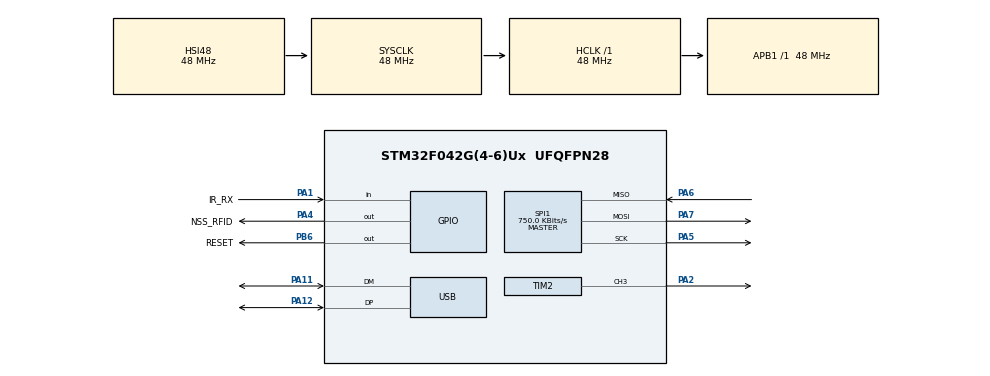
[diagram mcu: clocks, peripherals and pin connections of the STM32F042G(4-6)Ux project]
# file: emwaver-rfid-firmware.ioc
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Mcu.Family=STM32F0
Mcu.Name=STM32F042G(4-6)Ux
Mcu.Package=UFQFPN28
NVIC.TIM3_IRQn=true\:0\:0\:false\:false\:true\:true\:true\:true
NVIC.USB_IRQn=true\:3\:0\:true\:false\:true\:false\:true\:true
PA1.GPIO_Label=IR_RX
PA1.Signal=GPIO_Input
PA11.Mode=Device
PA11.Signal=USB_DM
PA12.Mode=Device
PA12.Signal=USB_DP
PA2.GPIO_PuPd=GPIO_PULLDOWN
PA2.Signal=S_TIM2_CH3
PA4.GPIO_Label=NSS_RFID
PA4.PinState=GPIO_PIN_SET
PA4.Signal=GPIO_Output
PA5.Mode=Full_Duplex_Master
PA5.Signal=SPI1_SCK
PA6.Mode=Full_Duplex_Master
PA6.Signal=SPI1_MISO
PA7.Mode=Full_Duplex_Master
PA7.Signal=SPI1_MOSI
PB6.GPIO_Label=RESET
PB6.Signal=GPIO_Output
ProjectManager.HeapSize=0x200
ProjectManager.StackSize=0x400
ProjectManager.TargetToolchain=STM32CubeIDE
RCC.AHBFreq_Value=48000000
RCC.APB1Freq_Value=48000000
RCC.APB1TimFreq_Value=48000000
RCC.HCLKFreq_Value=48000000
RCC.SYSCLKFreq_VALUE=48000000
RCC.SYSCLKSource=RCC_SYSCLKSOURCE_HSI48
SH.S_TIM2_CH3.0=TIM2_CH3,PWM Generation3 CH3
SPI1.BaudRatePrescaler=SPI_BAUDRATEPRESCALER_64
SPI1.CalculateBaudRate=750.0 KBits/s
SPI1.DataSize=SPI_DATASIZE_8BIT
SPI1.Direction=SPI_DIRECTION_2LINES
SPI1.Mode=SPI_MODE_MASTER
SPI1.VirtualType=VM_MASTER
TIM1.Period=0xFFFF - 1
TIM1.Prescaler=48-1
TIM2.Channel-PWM\ Generation3\ CH3=TIM_CHANNEL_3
TIM2.Period=1263-1
TIM2.Pulse-PWM\ Generation3\ CH3=(1263-1)/2
TIM3.Period=480-1
USB_DEVICE.APP_RX_DATA_SIZE=64
USB_DEVICE.APP_TX_DATA_SIZE=64
USB_DEVICE.CLASS_NAME_FS=CDC
USB_DEVICE.VirtualMode=Cdc
USB_DEVICE.VirtualModeFS=Cdc_FS
VP_SYS_VS_PINREMAP.Mode=PINREMAP
VP_TIM1_VS_ClockSourceINT.Mode=Internal
VP_TIM2_VS_ClockSourceINT.Mode=Internal
VP_TIM3_VS_ClockSourceINT.Mode=Internal
VP_USB_DEVICE_VS_USB_DEVICE_CDC_FS.Mode=CDC_FS
board=custom

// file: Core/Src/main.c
/* USER CODE BEGIN Header */
/**
  ******************************************************************************
  * @file           : main.c
  * @brief          : Main program body
  ******************************************************************************
  * @attention
  *
  * Copyright (c) 2024 STMicroelectronics.
  * All rights reserved.
  *
  * This software is licensed under terms that can be found in the LICENSE file
  * in the root directory of this software component.
  * If no LICENSE file comes with this software, it is provided AS-IS.
  *
  ******************************************************************************
  *
  * EMWaver modifications
  * Copyright (c) 2026 Luís Marnoto
*/
/* USER CODE END Header */
#include "main.h"
#include "usb_device.h"

/* USER CODE BEGIN Includes */
#include <stdlib.h>
#include <string.h>
#include <stdbool.h>
#include <stdint.h>
#include "usbd_cdc_if.h"
#include "MFRC522.h"
/* USER CODE END Includes */

/* USER CODE BEGIN PD */
#define CDC_TIMEOUT 100
#define EMWAVER_FIRMWARE_WELCOME "Welcome to RFID Waver firmware"
#define EMWAVER_FIRMWARE_VERSION "1.0.0"
/* USER CODE END PD */

SPI_HandleTypeDef hspi1;

TIM_HandleTypeDef htim1;
TIM_HandleTypeDef htim2;
TIM_HandleTypeDef htim3;

/* USER CODE BEGIN PV */
uint8_t * bulk_packet = NULL;
size_t bulk_packet_len = 0;

volatile CDC_Buffer_Type cdc_buf_type = CDC_BUFFER_PACKET;
/* USER CODE END PV */

void SystemClock_Config(void);
static void MX_GPIO_Init(void);
static void MX_TIM2_Init(void);
static void MX_TIM1_Init(void);
static void MX_TIM3_Init(void);
static void MX_SPI1_Init(void);

/* USER CODE BEGIN 0 */

static void free_bulk_packet(void)
{
    if (bulk_packet != NULL) {
        free(bulk_packet);
        bulk_packet = NULL;
        bulk_packet_len = 0;
    }
}

static void command_send_ok(const uint8_t *data, size_t len)
{
    if (data && len > 0) {
        (void)CDC_SendResponsePkt_FS((uint8_t *)data, (uint16_t)len, CDC_TIMEOUT);
        return;
    }
    const uint8_t ok = 0x00;
    (void)CDC_SendResponsePkt_FS((uint8_t *)&ok, 1, CDC_TIMEOUT);
}

static void command_send_err(const char *msg)
{
    (void)msg;
    // Match the registry firmware behavior: errors are best-effort no-ops.
    const uint8_t ok = 0x00;
    (void)CDC_SendResponsePkt_FS((uint8_t *)&ok, 1, CDC_TIMEOUT);
}

static void enable_gpio_clock(GPIO_TypeDef *port)
{
    if (port == GPIOA) {
        __HAL_RCC_GPIOA_CLK_ENABLE();
    } else if (port == GPIOB) {
        __HAL_RCC_GPIOB_CLK_ENABLE();
    }
}

static void configurePin(GPIO_TypeDef *port, uint16_t pin, uint32_t mode, uint32_t pull)
{
    GPIO_InitTypeDef GPIO_InitStruct = {0};

    enable_gpio_clock(port);
    GPIO_InitStruct.Pin = pin;
    GPIO_InitStruct.Mode = mode;
    GPIO_InitStruct.Pull = pull;
    GPIO_InitStruct.Speed = GPIO_SPEED_FREQ_HIGH;
    if (mode == GPIO_MODE_AF_PP) {
        GPIO_InitStruct.Alternate = GPIO_AF2_TIM2;
    }
    HAL_GPIO_Init(port, &GPIO_InitStruct);
}

static bool decode_encoded_pin(int encoded, GPIO_TypeDef **out_port, uint16_t *out_pin)
{
    if (!out_port || !out_pin) {
        return false;
    }
    if (encoded >= 0 && encoded <= 15) {
        *out_port = GPIOA;
        *out_pin = (uint16_t)(1u << encoded);
        return true;
    }
    if (encoded >= 16 && encoded <= 31) {
        *out_port = GPIOB;
        *out_pin = (uint16_t)(1u << (encoded - 16));
        return true;
    }
    return false;
}

static bool pin_mask_to_index(uint16_t pin_mask, uint8_t *out_index)
{
    if (!out_index) {
        return false;
    }
    if (pin_mask == 0) {
        return false;
    }
    for (uint8_t i = 0; i < 16; i++) {
        if (pin_mask == (uint16_t)(1u << i)) {
            *out_index = i;
            return true;
        }
    }
    return false;
}

static void gpio_write_latch(GPIO_TypeDef *port, uint16_t pin_mask, bool value)
{
    if (!port) {
        return;
    }
    if (value) {
        port->BSRR = pin_mask;
    } else {
        port->BSRR = (uint32_t)pin_mask << 16;
    }
}

static void disable_tim2_output_if_needed(GPIO_TypeDef *port, uint8_t pin_index)
{
    if (port != GPIOA) {
        return;
    }

    uint32_t channel = 0;
    uint16_t ccer_mask = 0;
    switch (pin_index) {
        case 0:
            channel = TIM_CHANNEL_1;
            ccer_mask = TIM_CCER_CC1E;
            break;
        case 1:
            channel = TIM_CHANNEL_2;
            ccer_mask = TIM_CCER_CC2E;
            break;
        case 2:
            channel = TIM_CHANNEL_3;
            ccer_mask = TIM_CCER_CC3E;
            break;
        case 3:
            channel = TIM_CHANNEL_4;
            ccer_mask = TIM_CCER_CC4E;
            break;
        default:
            return;
    }

    TIM2->CCER &= (uint16_t)~ccer_mask;
    (void)HAL_TIM_PWM_Stop(&htim2, channel);
}

static void gpio_set_mode(GPIO_TypeDef *port, uint16_t pin_mask, uint32_t mode, uint32_t pull)
{
    if (!port) {
        return;
    }
    enable_gpio_clock(port);
    HAL_GPIO_DeInit(port, pin_mask);
    configurePin(port, pin_mask, mode, pull);
}

// Minimal CLI parsing (copied/adapted from stm/emwaver-firmware command_registry.c).
#define CLI_MAX_ARGS 10
#define CLI_MAX_POSITIONAL 4
#define CLI_COMMAND_BUFFER 256

typedef struct {
    const char *key;
    const char *value;
} cli_arg_view_t;

typedef struct {
    char *verb;
    cli_arg_view_t args[CLI_MAX_ARGS];
    size_t arg_count;
    char *positional[CLI_MAX_POSITIONAL];
    size_t positional_count;
} cli_command_view_t;

static bool is_cli_space(char ch)
{
    return ch == ' ' || ch == '\t' || ch == '\r' || ch == '\n';
}

static char *next_token(char **cursor)
{
    if (!cursor || !*cursor) {
        return NULL;
    }

    char *p = *cursor;
    while (*p && is_cli_space(*p)) {
        p++;
    }
    if (!*p) {
        *cursor = p;
        return NULL;
    }

    char *start = p;
    while (*p && !is_cli_space(*p)) {
        p++;
    }
    if (*p) {
        *p = '\0';
        p++;
    }
    *cursor = p;
    return start;
}

static bool parse_cli_command_inplace(char *line, cli_command_view_t *out)
{
    if (!line || !out) {
        return false;
    }

    memset(out, 0, sizeof(*out));

    char *cursor = line;
    char *verb = next_token(&cursor);
    if (!verb) {
        return false;
    }
    out->verb = verb;

    char *pending = NULL;
    while (1) {
        char *token = pending ? pending : next_token(&cursor);
        pending = NULL;
        if (!token) {
            break;
        }

        if (strncmp(token, "--", 2) == 0) {
            char *key = token + 2;
            const char *value = NULL;
            char *eq = strchr(key, '=');
            if (eq) {
                *eq = '\0';
                value = eq + 1;
            } else {
                char *next = next_token(&cursor);
                if (!next) {
                    value = "1";
                } else if (strncmp(next, "--", 2) == 0) {
                    value = "1";
                    pending = next;
                } else {
                    value = next;
                }
            }
            if (out->arg_count < CLI_MAX_ARGS) {
                out->args[out->arg_count].key = key;
                out->args[out->arg_count].value = value ? value : "";
                out->arg_count++;
            }
        } else {
            if (out->positional_count < CLI_MAX_POSITIONAL) {
                out->positional[out->positional_count] = token;
                out->positional_count++;
            }
        }
    }

    return true;
}

static const char *cli_get_arg_view(const cli_command_view_t *cmd, const char *key)
{
    if (!cmd || !key) {
        return NULL;
    }
    for (size_t i = 0; i < cmd->arg_count; ++i) {
        if (cmd->args[i].key && strcmp(cmd->args[i].key, key) == 0) {
            return cmd->args[i].value;
        }
    }
    return NULL;
}

static bool cli_parse_int(const char *str, int *out_value)
{
    if (!str || !out_value) {
        return false;
    }
    char *end = NULL;
    long value = strtol(str, &end, 0);
    if (end == str || (end && *end != '\0')) {
        return false;
    }
    *out_value = (int)value;
    return true;
}

static int from_hex(char c)
{
    if (c >= '0' && c <= '9') return c - '0';
    if (c >= 'a' && c <= 'f') return 10 + (c - 'a');
    if (c >= 'A' && c <= 'F') return 10 + (c - 'A');
    return -1;
}

static bool cli_parse_hex_bytes(const char *str, uint8_t *out, size_t max_len, size_t *out_len)
{
    if (!str || !out || !out_len) {
        return false;
    }

    size_t written = 0;
    int pending = -1;

    for (const char *p = str; *p; ++p) {
        char c = *p;

        if (c == '0' && (p[1] == 'x' || p[1] == 'X')) {
            ++p;
            continue;
        }

        if (c == ' ' || c == '\t' || c == '\r' || c == '\n' || c == ',' || c == ':' || c == '_' || c == '-') {
            continue;
        }

        int nib = from_hex(c);
        if (nib < 0) {
            return false;
        }

        if (pending < 0) {
            pending = nib;
        } else {
            if (written >= max_len) {
                return false;
            }
            out[written++] = (uint8_t)((pending << 4) | nib);
            pending = -1;
        }
    }

    if (pending >= 0) {
        return false;
    }

    *out_len = written;
    return true;
}

/* USER CODE END 0 */

int main(void)
{

  /* MCU Configuration--------------------------------------------------------*/

  /* Reset of all peripherals, Initializes the Flash interface and the Systick. */
  HAL_Init();

  /* Configure the system clock */
  SystemClock_Config();

  /* Initialize all configured peripherals */
  MX_GPIO_Init();
  MX_TIM2_Init();
  MX_TIM1_Init();
  MX_USB_DEVICE_Init();
  MX_TIM3_Init();
  MX_SPI1_Init();

  /* Infinite loop */
  /* USER CODE BEGIN WHILE */
  while (1) {
      if (bulk_packet == NULL) {
          continue;
      }

      if (bulk_packet_len < 1) {
          command_send_err(NULL);
          free_bulk_packet();
          continue;
      }

      static char scratch_line[CLI_COMMAND_BUFFER + 1];
      size_t line_len = bulk_packet_len;
      if (line_len > CLI_COMMAND_BUFFER) {
          line_len = CLI_COMMAND_BUFFER;
      }
      size_t effective = 0;
      for (size_t i = 0; i < line_len; i++) {
          if (bulk_packet[i] == '\0') {
              break;
          }
          scratch_line[i] = (char)bulk_packet[i];
          effective++;
      }
      scratch_line[effective] = '\0';
      // Trim trailing whitespace/newlines.
      while (effective > 0 && is_cli_space(scratch_line[effective - 1])) {
          scratch_line[effective - 1] = '\0';
          effective--;
      }

      cli_command_view_t cmd;
      if (!parse_cli_command_inplace(scratch_line, &cmd)) {
          command_send_err(NULL);
          free_bulk_packet();
          continue;
      }

      if (cmd.verb && strcmp(cmd.verb, "version") == 0) {
          static const char msg[] = EMWAVER_FIRMWARE_WELCOME " " EMWAVER_FIRMWARE_VERSION;
          (void)CDC_SendResponsePkt_FS((uint8_t *)msg, (uint16_t)(sizeof(msg) - 1u), CDC_TIMEOUT);
          free_bulk_packet();
          continue;
      }

      if (cmd.verb && strcmp(cmd.verb, "rfid") == 0 && cmd.positional_count > 0) {
          static bool mfrc522_initialized = false;

          const char *sub = cmd.positional[0];

          if (!mfrc522_initialized) {
              MFRC522_Init();
              mfrc522_initialized = true;
          }

          u_char version = Read_MFRC522(VersionReg);
          bool present = (version == 0xB2 || version == 0x92 || version == 0x91);

          if (strcmp(sub, "init") == 0) {
              if (!present) {
                  const char *msg = "ERR: MFRC522 not detected";
                  (void)CDC_SendResponsePkt_FS((uint8_t *)msg, (uint16_t)strlen(msg), CDC_TIMEOUT);
              } else {
                  command_send_ok(NULL, 0);
              }
              free_bulk_packet();
              continue;
          }

          if (!present) {
              const char *msg = "ERR: MFRC522 not detected";
              (void)CDC_SendResponsePkt_FS((uint8_t *)msg, (uint16_t)strlen(msg), CDC_TIMEOUT);
              free_bulk_packet();
              continue;
          }

          if (strcmp(sub, "read") == 0) {
              int block = 0;
              int auth = 0;
              const char *block_str = cli_get_arg_view(&cmd, "block");
              const char *auth_str = cli_get_arg_view(&cmd, "auth");
              const char *key_str = cli_get_arg_view(&cmd, "key");
              if (!cli_parse_int(block_str, &block) || !cli_parse_int(auth_str, &auth)) {
                  command_send_err(NULL);
                  free_bulk_packet();
                  continue;
              }

              uint8_t key_bytes[6] = {0xFF, 0xFF, 0xFF, 0xFF, 0xFF, 0xFF};
              size_t key_len = 0;
              if (!(cli_parse_hex_bytes(key_str, key_bytes, sizeof(key_bytes), &key_len) && key_len == sizeof(key_bytes))) {
                  memset(key_bytes, 0xFF, sizeof(key_bytes));
              }

              u_char tag_type[2] = {0};
              u_char uid[5] = {0};
              u_char status = MFRC522_Request(PICC_REQIDL, tag_type);
              if (status != MI_OK) {
                  const char *msg = "No card detected";
                  (void)CDC_SendResponsePkt_FS((uint8_t *)msg, (uint16_t)strlen(msg), CDC_TIMEOUT);
                  free_bulk_packet();
                  continue;
              }
              status = MFRC522_Anticoll(uid);
              if (status != MI_OK) {
                  const char *msg = "No card detected";
                  (void)CDC_SendResponsePkt_FS((uint8_t *)msg, (uint16_t)strlen(msg), CDC_TIMEOUT);
                  free_bulk_packet();
                  continue;
              }
              (void)MFRC522_SelectTag(uid);

              status = MFRC522_Auth((u_char)auth, (u_char)block, (u_char *)key_bytes, uid);
              if (status != MI_OK) {
                  MFRC522_StopCrypto1();
                  const char *msg = "ERR: auth failed";
                  (void)CDC_SendResponsePkt_FS((uint8_t *)msg, (uint16_t)strlen(msg), CDC_TIMEOUT);
                  free_bulk_packet();
                  continue;
              }

              u_char block_data[18] = {0};
              status = MFRC522_Read((u_char)block, block_data);
              MFRC522_StopCrypto1();
              MFRC522_Halt();
              if (status != MI_OK) {
                  const char *msg = "ERR: read failed";
                  (void)CDC_SendResponsePkt_FS((uint8_t *)msg, (uint16_t)strlen(msg), CDC_TIMEOUT);
                  free_bulk_packet();
                  continue;
              }

              uint8_t response[2 + 4 + 16] = {0};
              response[0] = tag_type[0];
              response[1] = tag_type[1];
              memcpy(&response[2], uid, 4);
              memcpy(&response[6], block_data, 16);
              (void)CDC_SendResponsePkt_FS(response, sizeof(response), CDC_TIMEOUT);
              free_bulk_packet();
              continue;
          }

          if (strcmp(sub, "write") == 0) {
              int block = 0;
              int auth = 0;
              const char *block_str = cli_get_arg_view(&cmd, "block");
              const char *auth_str = cli_get_arg_view(&cmd, "auth");
              const char *key_str = cli_get_arg_view(&cmd, "key");
              const char *data_str = cli_get_arg_view(&cmd, "data");
              if (!cli_parse_int(block_str, &block) || !cli_parse_int(auth_str, &auth)) {
                  command_send_err(NULL);
                  free_bulk_packet();
                  continue;
              }

              uint8_t key_bytes[6] = {0xFF, 0xFF, 0xFF, 0xFF, 0xFF, 0xFF};
              size_t key_len = 0;
              if (!(cli_parse_hex_bytes(key_str, key_bytes, sizeof(key_bytes), &key_len) && key_len == sizeof(key_bytes))) {
                  memset(key_bytes, 0xFF, sizeof(key_bytes));
              }

              uint8_t data_bytes[16] = {0};
              size_t data_len = 0;
              if (!(cli_parse_hex_bytes(data_str, data_bytes, sizeof(data_bytes), &data_len) && data_len == sizeof(data_bytes))) {
                  const char *msg = "ERR: data must be 16 bytes";
                  (void)CDC_SendResponsePkt_FS((uint8_t *)msg, (uint16_t)strlen(msg), CDC_TIMEOUT);
                  free_bulk_packet();
                  continue;
              }

              u_char tag_type[2] = {0};
              u_char uid[5] = {0};
              u_char status = MFRC522_Request(PICC_REQIDL, tag_type);
              if (status != MI_OK) {
                  const char *msg = "No card detected";
                  (void)CDC_SendResponsePkt_FS((uint8_t *)msg, (uint16_t)strlen(msg), CDC_TIMEOUT);
                  free_bulk_packet();
                  continue;
              }
              status = MFRC522_Anticoll(uid);
              if (status != MI_OK) {
                  const char *msg = "No card detected";
                  (void)CDC_SendResponsePkt_FS((uint8_t *)msg, (uint16_t)strlen(msg), CDC_TIMEOUT);
                  free_bulk_packet();
                  continue;
              }
              (void)MFRC522_SelectTag(uid);

              status = MFRC522_Auth((u_char)auth, (u_char)block, (u_char *)key_bytes, uid);
              if (status != MI_OK) {
                  MFRC522_StopCrypto1();
                  const char *msg = "ERR: auth failed";
                  (void)CDC_SendResponsePkt_FS((uint8_t *)msg, (uint16_t)strlen(msg), CDC_TIMEOUT);
                  free_bulk_packet();
                  continue;
              }

              status = MFRC522_Write((u_char)block, (u_char *)data_bytes);
              MFRC522_StopCrypto1();
              MFRC522_Halt();
              if (status != MI_OK) {
                  const char *msg = "ERR: write failed";
                  (void)CDC_SendResponsePkt_FS((uint8_t *)msg, (uint16_t)strlen(msg), CDC_TIMEOUT);
                  free_bulk_packet();
                  continue;
              }

              const char *msg = "Success";
              (void)CDC_SendResponsePkt_FS((uint8_t *)msg, (uint16_t)strlen(msg), CDC_TIMEOUT);
              free_bulk_packet();
              continue;
          }

          command_send_err(NULL);
          free_bulk_packet();
          continue;
      }

      if (cmd.verb && strcmp(cmd.verb, "gpio") == 0 && cmd.positional_count > 0) {
          const char *sub = cmd.positional[0];
          if (strcmp(sub, "in") == 0 || strcmp(sub, "out") == 0 ||
              strcmp(sub, "read") == 0 || strcmp(sub, "high") == 0 ||
              strcmp(sub, "low") == 0 || strcmp(sub, "pull") == 0 ||
              strcmp(sub, "info") == 0) {
              int pin_enc = -1;
              const char *pin_str = cli_get_arg_view(&cmd, "pin");
              if (!cli_parse_int(pin_str, &pin_enc)) {
                  command_send_err(NULL);
                  free_bulk_packet();
                  continue;
              }

              GPIO_TypeDef *port = NULL;
              uint16_t pin_mask = 0;
              if (!decode_encoded_pin(pin_enc, &port, &pin_mask)) {
                  command_send_err(NULL);
                  free_bulk_packet();
                  continue;
              }

              uint8_t pin_index = 0;
              if (!pin_mask_to_index(pin_mask, &pin_index)) {
                  command_send_err(NULL);
                  free_bulk_packet();
                  continue;
              }

              disable_tim2_output_if_needed(port, pin_index);

              if (strcmp(sub, "in") == 0) {
                  gpio_set_mode(port, pin_mask, GPIO_MODE_INPUT, GPIO_NOPULL);
                  command_send_ok(NULL, 0);
              } else if (strcmp(sub, "out") == 0) {
                  gpio_set_mode(port, pin_mask, GPIO_MODE_OUTPUT_PP, GPIO_NOPULL);
                  command_send_ok(NULL, 0);
              } else if (strcmp(sub, "pull") == 0) {
                  int pull_mode = 0;
                  const char *mode_str = cli_get_arg_view(&cmd, "mode");
                  if (!cli_parse_int(mode_str, &pull_mode)) {
                      command_send_err(NULL);
                      free_bulk_packet();
                      continue;
                  }
                  uint32_t pull = GPIO_NOPULL;
                  if (pull_mode == 1) {
                      pull = GPIO_PULLUP;
                  } else if (pull_mode == 2) {
                      pull = GPIO_PULLDOWN;
                  } else if (pull_mode != 0) {
                      command_send_err(NULL);
                      free_bulk_packet();
                      continue;
                  }
                  gpio_set_mode(port, pin_mask, GPIO_MODE_INPUT, pull);
                  command_send_ok(NULL, 0);
              } else if (strcmp(sub, "read") == 0) {
                  gpio_set_mode(port, pin_mask, GPIO_MODE_INPUT, GPIO_NOPULL);
                  uint8_t out = (uint8_t)HAL_GPIO_ReadPin(port, pin_mask);
                  command_send_ok(&out, 1);
              } else if (strcmp(sub, "high") == 0 || strcmp(sub, "low") == 0) {
                  bool value = (strcmp(sub, "high") == 0);
                  gpio_write_latch(port, pin_mask, value);
                  gpio_set_mode(port, pin_mask, GPIO_MODE_OUTPUT_PP, GPIO_NOPULL);
                  HAL_GPIO_WritePin(port, pin_mask, value ? GPIO_PIN_SET : GPIO_PIN_RESET);
                  uint8_t out = (uint8_t)HAL_GPIO_ReadPin(port, pin_mask);
                  command_send_ok(&out, 1);
              } else if (strcmp(sub, "info") == 0) {
                  enable_gpio_clock(port);
                  uint32_t moder = port->MODER;
                  uint32_t otyper = port->OTYPER;
                  uint32_t pupdr = port->PUPDR;
                  uint32_t idr = port->IDR;
                  uint32_t odr = port->ODR;
                  uint32_t afr = (pin_index < 8) ? port->AFR[0] : port->AFR[1];

                  uint8_t mode = (uint8_t)((moder >> (pin_index * 2)) & 0x03);
                  uint8_t otype = (uint8_t)((otyper >> pin_index) & 0x01);
                  uint8_t pupd = (uint8_t)((pupdr >> (pin_index * 2)) & 0x03);
                  uint8_t idr_bit = (uint8_t)((idr >> pin_index) & 0x01);
                  uint8_t odr_bit = (uint8_t)((odr >> pin_index) & 0x01);
                  uint8_t af = (uint8_t)((afr >> ((pin_index % 8) * 4)) & 0x0F);

                  uint8_t response[6] = {mode, otype, pupd, af, idr_bit, odr_bit};
                  command_send_ok(response, sizeof(response));
              } else {
                  command_send_err(NULL);
              }

              free_bulk_packet();
              continue;
          }

          if (strcmp(sub, "R") == 0 && cmd.positional_count >= 3) {
              int port_int = 0;
              int pin_int = 0;
              if (!cli_parse_int(cmd.positional[1], &port_int) || !cli_parse_int(cmd.positional[2], &pin_int)) {
                  command_send_err(NULL);
                  free_bulk_packet();
                  continue;
              }
              GPIO_TypeDef *port = (port_int == 0) ? GPIOA : (port_int == 1) ? GPIOB : NULL;
              if (!port || pin_int < 0 || pin_int > 15) {
                  command_send_err(NULL);
                  free_bulk_packet();
                  continue;
              }
              uint16_t pin_mask = (uint16_t)(1u << (uint8_t)pin_int);
              disable_tim2_output_if_needed(port, (uint8_t)pin_int);
              gpio_set_mode(port, pin_mask, GPIO_MODE_INPUT, GPIO_NOPULL);
              uint8_t out = (uint8_t)HAL_GPIO_ReadPin(port, pin_mask);
              command_send_ok(&out, 1);
              free_bulk_packet();
              continue;
          }

          if (strcmp(sub, "W") == 0 && cmd.positional_count >= 4) {
              int port_int = 0;
              int pin_int = 0;
              int value_int = 0;
              if (!cli_parse_int(cmd.positional[1], &port_int) ||
                  !cli_parse_int(cmd.positional[2], &pin_int) ||
                  !cli_parse_int(cmd.positional[3], &value_int)) {
                  command_send_err(NULL);
                  free_bulk_packet();
                  continue;
              }
              GPIO_TypeDef *port = (port_int == 0) ? GPIOA : (port_int == 1) ? GPIOB : NULL;
              if (!port || pin_int < 0 || pin_int > 15) {
                  command_send_err(NULL);
                  free_bulk_packet();
                  continue;
              }
              uint16_t pin_mask = (uint16_t)(1u << (uint8_t)pin_int);
              disable_tim2_output_if_needed(port, (uint8_t)pin_int);
              bool value = value_int ? true : false;
              gpio_write_latch(port, pin_mask, value);
              gpio_set_mode(port, pin_mask, GPIO_MODE_OUTPUT_PP, GPIO_NOPULL);
              HAL_GPIO_WritePin(port, pin_mask, value ? GPIO_PIN_SET : GPIO_PIN_RESET);
              uint8_t out = (uint8_t)HAL_GPIO_ReadPin(port, pin_mask);
              command_send_ok(&out, 1);
              free_bulk_packet();
              continue;
          }

          if (strcmp(sub, "I") == 0 && cmd.positional_count >= 3) {
              int port_int = 0;
              int pin_int = 0;
              if (!cli_parse_int(cmd.positional[1], &port_int) || !cli_parse_int(cmd.positional[2], &pin_int)) {
                  command_send_err(NULL);
                  free_bulk_packet();
                  continue;
              }
              GPIO_TypeDef *port = (port_int == 0) ? GPIOA : (port_int == 1) ? GPIOB : NULL;
              if (!port || pin_int < 0 || pin_int > 15) {
                  command_send_err(NULL);
                  free_bulk_packet();
                  continue;
              }
              enable_gpio_clock(port);
              uint32_t moder = port->MODER;
              uint32_t otyper = port->OTYPER;
              uint32_t pupdr = port->PUPDR;
              uint32_t idr = port->IDR;
              uint32_t odr = port->ODR;
              uint32_t afr = (pin_int < 8) ? port->AFR[0] : port->AFR[1];

              uint8_t mode = (uint8_t)((moder >> (pin_int * 2)) & 0x03);
              uint8_t otype = (uint8_t)((otyper >> pin_int) & 0x01);
              uint8_t pupd = (uint8_t)((pupdr >> (pin_int * 2)) & 0x03);
              uint8_t idr_bit = (uint8_t)((idr >> pin_int) & 0x01);
              uint8_t odr_bit = (uint8_t)((odr >> pin_int) & 0x01);
              uint8_t af = (uint8_t)((afr >> ((pin_int % 8) * 4)) & 0x0F);

              uint8_t response[6] = {mode, otype, pupd, af, idr_bit, odr_bit};
              command_send_ok(response, sizeof(response));
              free_bulk_packet();
              continue;
          }

          command_send_err(NULL);
          free_bulk_packet();
          continue;
      }

      command_send_err(NULL);
      free_bulk_packet();
  }
  /* USER CODE END 3 */
}

void SystemClock_Config(void)
{
  RCC_OscInitTypeDef RCC_OscInitStruct = {0};
  RCC_ClkInitTypeDef RCC_ClkInitStruct = {0};
  RCC_PeriphCLKInitTypeDef PeriphClkInit = {0};

  /** Initializes the RCC Oscillators according to the specified parameters
  * in the RCC_OscInitTypeDef structure.
  */
  RCC_OscInitStruct.OscillatorType = RCC_OSCILLATORTYPE_HSI48;
  RCC_OscInitStruct.HSI48State = RCC_HSI48_ON;
  RCC_OscInitStruct.PLL.PLLState = RCC_PLL_NONE;
  if (HAL_RCC_OscConfig(&RCC_OscInitStruct) != HAL_OK)
  {
    Error_Handler();
  }

  /** Initializes the CPU, AHB and APB buses clocks
  */
  RCC_ClkInitStruct.ClockType = RCC_CLOCKTYPE_HCLK|RCC_CLOCKTYPE_SYSCLK
                              |RCC_CLOCKTYPE_PCLK1;
  RCC_ClkInitStruct.SYSCLKSource = RCC_SYSCLKSOURCE_HSI48;
  RCC_ClkInitStruct.AHBCLKDivider = RCC_SYSCLK_DIV1;
  RCC_ClkInitStruct.APB1CLKDivider = RCC_HCLK_DIV1;

  if (HAL_RCC_ClockConfig(&RCC_ClkInitStruct, FLASH_LATENCY_1) != HAL_OK)
  {
    Error_Handler();
  }
  PeriphClkInit.PeriphClockSelection = RCC_PERIPHCLK_USB;
  PeriphClkInit.UsbClockSelection = RCC_USBCLKSOURCE_HSI48;

  if (HAL_RCCEx_PeriphCLKConfig(&PeriphClkInit) != HAL_OK)
  {
    Error_Handler();
  }
}

static void MX_SPI1_Init(void)
{

  /* SPI1 parameter configuration*/
  hspi1.Instance = SPI1;
  hspi1.Init.Mode = SPI_MODE_MASTER;
  hspi1.Init.Direction = SPI_DIRECTION_2LINES;
  hspi1.Init.DataSize = SPI_DATASIZE_8BIT;
  hspi1.Init.CLKPolarity = SPI_POLARITY_LOW;
  hspi1.Init.CLKPhase = SPI_PHASE_1EDGE;
  hspi1.Init.NSS = SPI_NSS_SOFT;
  hspi1.Init.BaudRatePrescaler = SPI_BAUDRATEPRESCALER_64;
  hspi1.Init.FirstBit = SPI_FIRSTBIT_MSB;
  hspi1.Init.TIMode = SPI_TIMODE_DISABLE;
  hspi1.Init.CRCCalculation = SPI_CRCCALCULATION_DISABLE;
  hspi1.Init.CRCPolynomial = 7;
  hspi1.Init.CRCLength = SPI_CRC_LENGTH_DATASIZE;
  hspi1.Init.NSSPMode = SPI_NSS_PULSE_DISABLE;
  if (HAL_SPI_Init(&hspi1) != HAL_OK)
  {
    Error_Handler();
  }

}

static void MX_TIM1_Init(void)
{

  TIM_ClockConfigTypeDef sClockSourceConfig = {0};
  TIM_MasterConfigTypeDef sMasterConfig = {0};

  htim1.Instance = TIM1;
  htim1.Init.Prescaler = 48-1;
  htim1.Init.CounterMode = TIM_COUNTERMODE_UP;
  htim1.Init.Period = 0xFFFF - 1;
  htim1.Init.ClockDivision = TIM_CLOCKDIVISION_DIV1;
  htim1.Init.RepetitionCounter = 0;
  htim1.Init.AutoReloadPreload = TIM_AUTORELOAD_PRELOAD_DISABLE;
  if (HAL_TIM_Base_Init(&htim1) != HAL_OK)
  {
    Error_Handler();
  }
  sClockSourceConfig.ClockSource = TIM_CLOCKSOURCE_INTERNAL;
  if (HAL_TIM_ConfigClockSource(&htim1, &sClockSourceConfig) != HAL_OK)
  {
    Error_Handler();
  }
  sMasterConfig.MasterOutputTrigger = TIM_TRGO_RESET;
  sMasterConfig.MasterSlaveMode = TIM_MASTERSLAVEMODE_DISABLE;
  if (HAL_TIMEx_MasterConfigSynchronization(&htim1, &sMasterConfig) != HAL_OK)
  {
    Error_Handler();
  }

}

static void MX_TIM2_Init(void)
{

  TIM_ClockConfigTypeDef sClockSourceConfig = {0};
  TIM_MasterConfigTypeDef sMasterConfig = {0};
  TIM_OC_InitTypeDef sConfigOC = {0};

  htim2.Instance = TIM2;
  htim2.Init.Prescaler = 0;
  htim2.Init.CounterMode = TIM_COUNTERMODE_UP;
  htim2.Init.Period = 1263-1;
  htim2.Init.ClockDivision = TIM_CLOCKDIVISION_DIV1;
  htim2.Init.AutoReloadPreload = TIM_AUTORELOAD_PRELOAD_DISABLE;
  if (HAL_TIM_Base_Init(&htim2) != HAL_OK)
  {
    Error_Handler();
  }
  sClockSourceConfig.ClockSource = TIM_CLOCKSOURCE_INTERNAL;
  if (HAL_TIM_ConfigClockSource(&htim2, &sClockSourceConfig) != HAL_OK)
  {
    Error_Handler();
  }
  if (HAL_TIM_PWM_Init(&htim2) != HAL_OK)
  {
    Error_Handler();
  }
  sMasterConfig.MasterOutputTrigger = TIM_TRGO_RESET;
  sMasterConfig.MasterSlaveMode = TIM_MASTERSLAVEMODE_DISABLE;
  if (HAL_TIMEx_MasterConfigSynchronization(&htim2, &sMasterConfig) != HAL_OK)
  {
    Error_Handler();
  }
  sConfigOC.OCMode = TIM_OCMODE_PWM1;
  sConfigOC.Pulse = (1263-1)/2;
  sConfigOC.OCPolarity = TIM_OCPOLARITY_HIGH;
  sConfigOC.OCFastMode = TIM_OCFAST_DISABLE;
  if (HAL_TIM_PWM_ConfigChannel(&htim2, &sConfigOC, TIM_CHANNEL_3) != HAL_OK)
  {
    Error_Handler();
  }
  /* USER CODE BEGIN TIM2_Init 2 */
  // Configure Channel 1 (PA0)
  if (HAL_TIM_PWM_ConfigChannel(&htim2, &sConfigOC, TIM_CHANNEL_1) != HAL_OK)
  {
    Error_Handler();
  }

  // Configure Channel 2 (PA1)
  if (HAL_TIM_PWM_ConfigChannel(&htim2, &sConfigOC, TIM_CHANNEL_2) != HAL_OK)
  {
    Error_Handler();
  }

  // Configure Channel 3 (PA2)
  if (HAL_TIM_PWM_ConfigChannel(&htim2, &sConfigOC, TIM_CHANNEL_3) != HAL_OK)
  {
    Error_Handler();
  }

  // Configure Channel 4 (PA3)
  if (HAL_TIM_PWM_ConfigChannel(&htim2, &sConfigOC, TIM_CHANNEL_4) != HAL_OK)
  {
    Error_Handler();
  }
  /* USER CODE END TIM2_Init 2 */
  HAL_TIM_MspPostInit(&htim2);

}

static void MX_TIM3_Init(void)
{

  TIM_ClockConfigTypeDef sClockSourceConfig = {0};
  TIM_MasterConfigTypeDef sMasterConfig = {0};

  htim3.Instance = TIM3;
  htim3.Init.Prescaler = 0;
  htim3.Init.CounterMode = TIM_COUNTERMODE_UP;
  htim3.Init.Period = 480-1;
  htim3.Init.ClockDivision = TIM_CLOCKDIVISION_DIV1;
  htim3.Init.AutoReloadPreload = TIM_AUTORELOAD_PRELOAD_DISABLE;
  if (HAL_TIM_Base_Init(&htim3) != HAL_OK)
  {
    Error_Handler();
  }
  sClockSourceConfig.ClockSource = TIM_CLOCKSOURCE_INTERNAL;
  if (HAL_TIM_ConfigClockSource(&htim3, &sClockSourceConfig) != HAL_OK)
  {
    Error_Handler();
  }
  sMasterConfig.MasterOutputTrigger = TIM_TRGO_RESET;
  sMasterConfig.MasterSlaveMode = TIM_MASTERSLAVEMODE_DISABLE;
  if (HAL_TIMEx_MasterConfigSynchronization(&htim3, &sMasterConfig) != HAL_OK)
  {
    Error_Handler();
  }

}

static void MX_GPIO_Init(void)
{
  GPIO_InitTypeDef GPIO_InitStruct = {0};
/* USER CODE BEGIN MX_GPIO_Init_1 */
  // VCTL (antenna switch): PB0 low selects the 433 MHz antenna path.
/* USER CODE END MX_GPIO_Init_1 */

  /* GPIO Ports Clock Enable */
  __HAL_RCC_GPIOA_CLK_ENABLE();
  __HAL_RCC_GPIOB_CLK_ENABLE();

  /* USER CODE BEGIN MX_GPIO_Init_1b */
  // Drive VCTL low as early as possible (before configuring the pin) to avoid glitches.
  HAL_GPIO_WritePin(GPIOB, GPIO_PIN_0, GPIO_PIN_RESET);
  /* USER CODE END MX_GPIO_Init_1b */

  /*Configure GPIO pin Output Level */
  HAL_GPIO_WritePin(NSS_RFID_GPIO_Port, NSS_RFID_Pin, GPIO_PIN_SET);

  /*Configure GPIO pin Output Level */
  HAL_GPIO_WritePin(RESET_GPIO_Port, RESET_Pin, GPIO_PIN_RESET);

  /*Configure GPIO pin : IR_RX_Pin */
  GPIO_InitStruct.Pin = IR_RX_Pin;
  GPIO_InitStruct.Mode = GPIO_MODE_INPUT;
  GPIO_InitStruct.Pull = GPIO_NOPULL;
  HAL_GPIO_Init(IR_RX_GPIO_Port, &GPIO_InitStruct);

  /*Configure GPIO pin : NSS_RFID_Pin */
  GPIO_InitStruct.Pin = NSS_RFID_Pin;
  GPIO_InitStruct.Mode = GPIO_MODE_OUTPUT_PP;
  GPIO_InitStruct.Pull = GPIO_NOPULL;
  GPIO_InitStruct.Speed = GPIO_SPEED_FREQ_HIGH;
  HAL_GPIO_Init(NSS_RFID_GPIO_Port, &GPIO_InitStruct);

  /*Configure GPIO pin : RESET_Pin */
  GPIO_InitStruct.Pin = RESET_Pin;
  GPIO_InitStruct.Mode = GPIO_MODE_OUTPUT_PP;
  GPIO_InitStruct.Pull = GPIO_NOPULL;
  GPIO_InitStruct.Speed = GPIO_SPEED_FREQ_LOW;
  HAL_GPIO_Init(RESET_GPIO_Port, &GPIO_InitStruct);

/* USER CODE BEGIN MX_GPIO_Init_2 */
  /*Configure GPIO pin : PB0 (VCTL) */
  GPIO_InitStruct.Pin = GPIO_PIN_0;
  GPIO_InitStruct.Mode = GPIO_MODE_OUTPUT_PP;
  GPIO_InitStruct.Pull = GPIO_NOPULL;
  GPIO_InitStruct.Speed = GPIO_SPEED_FREQ_LOW;
  HAL_GPIO_Init(GPIOB, &GPIO_InitStruct);
/* USER CODE END MX_GPIO_Init_2 */
}

void Error_Handler(void)
{
  __disable_irq();
  while (1)
  {
  }
}
